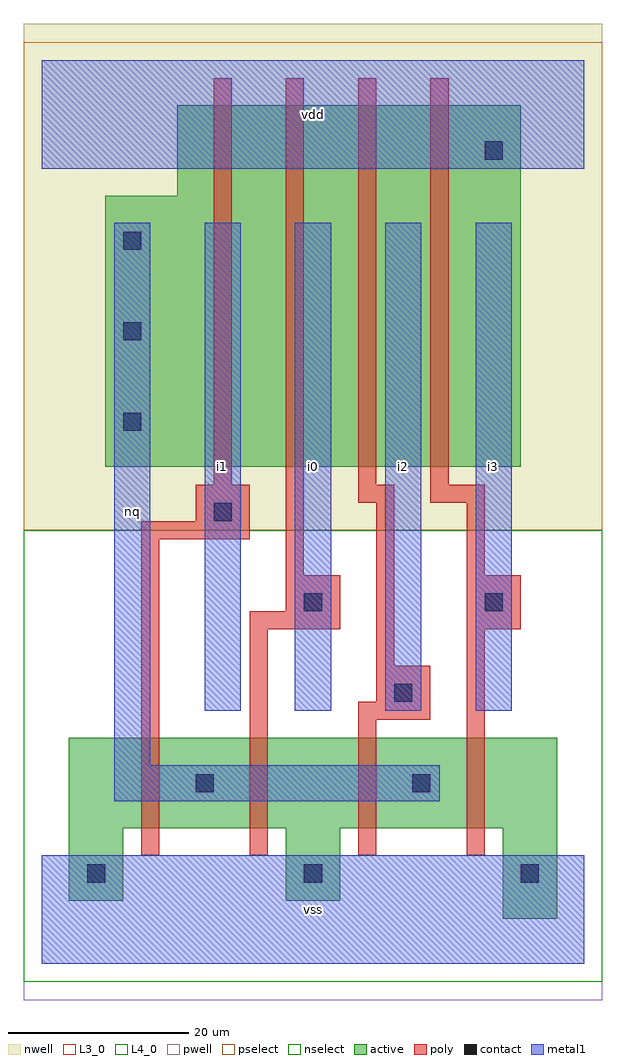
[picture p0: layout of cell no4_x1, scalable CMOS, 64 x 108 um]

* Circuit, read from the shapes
.subckt no4_x1 i0 i1 i2 i3 nq vdd vss
M1 nq i1 vss VSUBS nfet w=10u l=2u
M2 vss i0 nq VSUBS nfet w=10u l=2u
M3 nq i2 vss VSUBS nfet w=10u l=2u
M4 vss i3 nq VSUBS nfet w=10u l=2u
M5 n1 i1 nq n2 pfet w=40u l=2u
M6 n3 i0 n1 n2 pfet w=40u l=2u
M7 n4 i2 n3 n2 pfet w=40u l=2u
M8 vdd i3 n4 n2 pfet w=40u l=2u
.ends

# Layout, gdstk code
import gdstk
lib = gdstk.Library(unit=1e-6, precision=1e-09)
def R(c, l, rs):  # rectangles x0, y0, x1, y1
    for r in rs: c.add(gdstk.rectangle(r[:2], r[2:], *l))
def A(c, l, x, y, w, h, nx, ny, dx, dy):  # array of equal rectangles
    R(c, l, [(x+i*dx, y+j*dy, x+i*dx+w, y+j*dy+h) for i in range(nx) for j in range(ny)])
L3_0 = (3, 0)
L4_0 = (4, 0)
contact = (25, 0)
pwell = (41, 0)
nwell = (42, 0)
active = (43, 0)
pselect = (44, 0)
nselect = (45, 0)
poly = (46, 0)
metal1 = (49, 0)

no4_x1 = lib.new_cell('no4_x1')
R(no4_x1, L3_0, [(51,5,57,15), (3,7,9,15), (27,7,33,15), (3,15,57,25)])
R(no4_x1, L4_0, [(7,55,53,85), (15,85,53,95)])
A(no4_x1, contact, 5, 9, 2, 2, 3, 1, 24, 0)
A(no4_x1, contact, 9, 59, 2, 2, 1, 3, 0, 10)
R(no4_x1, contact, [(17,19,19,21), (41,19,43,21), (39,29,41,31), (29,39,31,41), (49,39,51,41), (19,49,21,51), (49,89,51,91)])
R(no4_x1, pwell, [(-2,-4,62,48)])
R(no4_x1, nwell, [(-2,48,62,104)])
R(no4_x1, active, [(51,5,57,15), (3,7,9,15), (27,7,33,15), (3,15,57,25), (7,55,53,85), (15,85,53,95)])
R(no4_x1, pselect, [(-2,48,62,102)])
R(no4_x1, nselect, [(-2,-2,62,48)])
R(no4_x1, poly, [(11,12,13,47), (23,12,25,37), (35,12,37,27), (47,12,49,37), (35,27,43,29), (37,29,43,33), (37,33,39,51), (23,37,33,39), (47,37,53,43), (27,39,33,43), (27,43,29,98), (47,43,49,51), (11,47,23,49), (17,49,23,53), (35,51,39,53), (43,51,49,53), (19,53,21,98), (35,53,37,98), (43,53,45,98)])
A(no4_x1, metal1, 18, 28, 4, 54, 4, 1, 10, 0)
R(no4_x1, metal1, [(0,0,60,12), (8,18,44,22), (8,22,12,82), (0,88,60,100)])
no4_x1.add(gdstk.Label('nq', (10,50), layer=49, texttype=0))
no4_x1.add(gdstk.Label('i1', (20,55), layer=49, texttype=0))
no4_x1.add(gdstk.Label('vss', (30,6), layer=49, texttype=0))
no4_x1.add(gdstk.Label('i2', (40,55), layer=49, texttype=0))
no4_x1.add(gdstk.Label('i0', (30,55), layer=49, texttype=0))
no4_x1.add(gdstk.Label('vdd', (30,94), layer=49, texttype=0))
no4_x1.add(gdstk.Label('i3', (50,55), layer=49, texttype=0))

lib.write_gds('no4_x1.gds')
